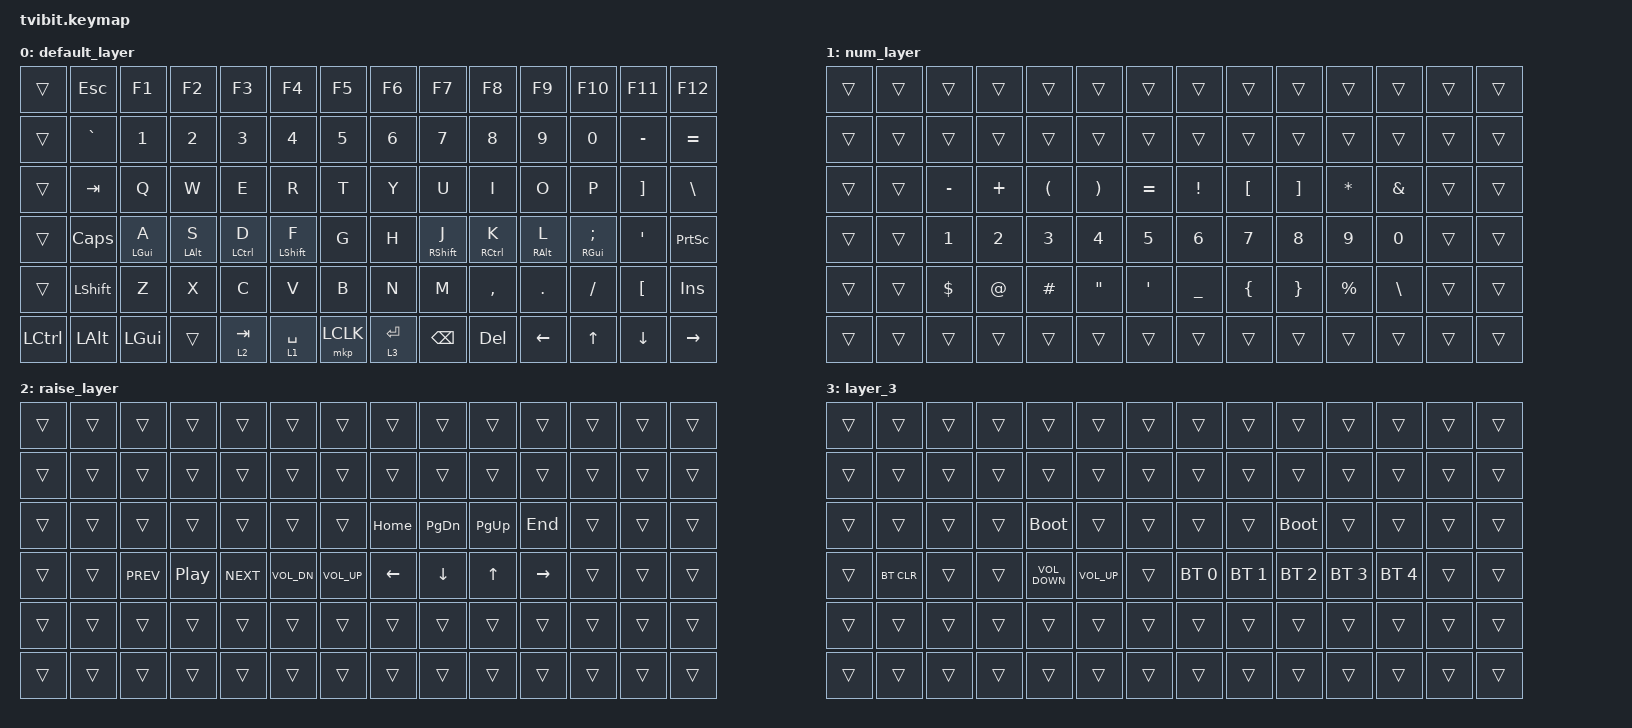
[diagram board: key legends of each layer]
/*
 * Tvibit - wireless split keyboard (nice!nano v2 / nRF52840, BLE).
 * Left = central, Right = peripheral. 42 + 42 = 84 keys, clean 6 rows x 7 cols.
 *
 * STARTER keymap - tweak freely (or live-edit via ZMK Studio).
 * Binding order follows the matrix-transform in boards/shields/tvibit/tvibit.dtsi.
 *
 * Layers:  0 BASE   1 LOWER (sym/num)   2 RAISE (nav/F-keys)   3 ADJUST (BT/sys)
 *          ADJUST auto-activates when LOWER + RAISE are held together.
 *
 * Row layout: 0=F-keys  1=numbers  2=QWERTY  3=home  4=ZXCV  5=thumbs/arrows.
 * Row 5 (bottom) holds the 3 thumb keys + the right arrow block
 * (inverted-T: UP above DOWN, flanked by LEFT/RIGHT).
 */

#include <behaviors.dtsi>
#include <dt-bindings/zmk/bt.h>
#include <dt-bindings/zmk/keys.h>
#include <dt-bindings/zmk/pointing.h>

/* key-position groups for positional home-row mods (urob "timeless" style).
   Ported from charybdis scroll-axis-lock; positions follow keymap binding
   order. Each row = 7 left cols (0-6) + 7 right cols (7-13). */

#define KEYS_L  0  1  2  3  4  5  6  14 15 16 17 18 19 20  28 29 30 31 32 33 34  42 43 44 45 46 47 48  56 57 58 59 60 61 62
#define KEYS_R  7  8  9 10 11 12 13  21 22 23 24 25 26 27  35 36 37 38 39 40 41  49 50 51 52 53 54 55  63 64 65 66 67 68 69
#define THUMBS 70 71 72 73 74 75 76  77 78 79 80 81 82 83

/ {
    conditional_layers { compatible = "zmk,conditional-layers"; };

    behaviors {
        hml: home_row_mod_left {
            compatible = "zmk,behavior-hold-tap";
            label = "HOME_ROW_MOD_LEFT";
            bindings = <&kp>, <&kp>;

            #binding-cells = <2>;
            flavor = "balanced";
            tapping-term-ms = <280>;
            quick-tap-ms = <175>;
            require-prior-idle-ms = <150>;
            hold-trigger-key-positions = <KEYS_R THUMBS>;
            hold-trigger-on-release;
        };

        hmr: home_row_mod_right {
            compatible = "zmk,behavior-hold-tap";
            label = "HOME_ROW_MOD_RIGHT";
            bindings = <&kp>, <&kp>;

            #binding-cells = <2>;
            flavor = "balanced";
            tapping-term-ms = <280>;
            quick-tap-ms = <175>;
            require-prior-idle-ms = <150>;
            hold-trigger-key-positions = <KEYS_L THUMBS>;
            hold-trigger-on-release;
        };

        /* Shift kept on home row (F/J) but tuned separately: require-prior-idle
           removed so fast capitals don't force a tap ("two letters"), shorter
           term. Positional guard stays (same-hand fast typing won't misfire). */

        hsl: home_shift_left {
            compatible = "zmk,behavior-hold-tap";
            label = "HOME_SHIFT_LEFT";
            bindings = <&kp>, <&kp>;

            #binding-cells = <2>;
            flavor = "balanced";
            tapping-term-ms = <200>;
            quick-tap-ms = <175>;
            require-prior-idle-ms = <0>;
            hold-trigger-key-positions = <KEYS_R THUMBS>;
            hold-trigger-on-release;
        };

        hsr: home_shift_right {
            compatible = "zmk,behavior-hold-tap";
            label = "HOME_SHIFT_RIGHT";
            bindings = <&kp>, <&kp>;

            #binding-cells = <2>;
            flavor = "balanced";
            tapping-term-ms = <200>;
            quick-tap-ms = <175>;
            require-prior-idle-ms = <0>;
            hold-trigger-key-positions = <KEYS_L THUMBS>;
            hold-trigger-on-release;
        };
    };

    keymap {
        compatible = "zmk,keymap";

        default_layer {
            bindings = <
&trans            &kp ESCAPE      &kp F1           &kp F2           &kp F3        &kp F4             &kp F5     &kp F6     &kp F7              &kp F8        &kp F9            &kp F10              &kp F11           &kp F12
&trans            &kp GRAVE       &kp N1           &kp N2           &kp N3        &kp N4             &kp N5     &kp N6     &kp N7              &kp N8        &kp N9            &kp N0               &kp MINUS         &kp EQUAL
&trans            &kp TAB         &kp Q            &kp W            &kp E         &kp R              &kp T      &kp Y      &kp U               &kp I         &kp O             &kp P                &kp RBKT          &kp BSLH
&trans            &kp CAPSLOCK    &hml LEFT_GUI A  &hml LEFT_ALT S  &hml LCTRL D  &hsl LEFT_SHIFT F  &kp G      &kp H      &hsr RIGHT_SHIFT J  &hmr RCTRL K  &hmr RIGHT_ALT L  &hmr RIGHT_GUI SEMI  &kp SQT           &kp PRINTSCREEN
&trans            &kp LEFT_SHIFT  &kp Z            &kp X            &kp C         &kp V              &kp B      &kp N      &kp M               &kp COMMA     &kp DOT           &kp FSLH             &kp LEFT_BRACKET  &kp INSERT
&kp LEFT_CONTROL  &kp LEFT_ALT    &kp LEFT_GUI     &trans           &lt 2 TAB     &lt 1 SPACE        &mkp LCLK  &lt 3 RET  &kp BACKSPACE       &kp DEL       &kp LEFT          &kp UP               &kp DOWN          &kp RIGHT
            >;
        };

        num_layer {
            bindings = <
&trans  &trans  &trans     &trans    &trans    &trans    &trans     &trans     &trans    &trans    &trans     &trans    &trans  &trans
&trans  &trans  &trans     &trans    &trans    &trans    &trans     &trans     &trans    &trans    &trans     &trans    &trans  &trans
&trans  &trans  &kp MINUS  &kp PLUS  &kp LPAR  &kp RPAR  &kp EQUAL  &kp EXCL   &kp LBKT  &kp RBKT  &kp ASTRK  &kp AMPS  &trans  &trans
&trans  &trans  &kp N1     &kp N2    &kp N3    &kp N4    &kp N5     &kp N6     &kp N7    &kp N8    &kp N9     &kp N0    &trans  &trans
&trans  &trans  &kp DLLR   &kp AT    &kp HASH  &kp DQT   &kp SQT    &kp UNDER  &kp LBRC  &kp RBRC  &kp PRCNT  &kp BSLH  &trans  &trans
&trans  &trans  &trans     &trans    &trans    &trans    &trans     &trans     &trans    &trans    &trans     &trans    &trans  &trans
            >;
        };

        raise_layer {
            bindings = <
&trans  &trans  &trans      &trans    &trans      &trans        &trans        &trans    &trans     &trans     &trans     &trans  &trans  &trans
&trans  &trans  &trans      &trans    &trans      &trans        &trans        &trans    &trans     &trans     &trans     &trans  &trans  &trans
&trans  &trans  &trans      &trans    &trans      &trans        &trans        &kp HOME  &kp PG_DN  &kp PG_UP  &kp END    &trans  &trans  &trans
&trans  &trans  &kp C_PREV  &kp C_PP  &kp C_NEXT  &kp C_VOL_DN  &kp C_VOL_UP  &kp LEFT  &kp DOWN   &kp UP     &kp RIGHT  &trans  &trans  &trans
&trans  &trans  &trans      &trans    &trans      &trans        &trans        &trans    &trans     &trans     &trans     &trans  &trans  &trans
&trans  &trans  &trans      &trans    &trans      &trans        &trans        &trans    &trans     &trans     &trans     &trans  &trans  &trans
            >;
        };

        layer_3 {
            bindings = <
&trans  &trans      &trans  &trans  &trans             &trans           &trans  &trans        &trans        &trans        &trans        &trans        &trans  &trans
&trans  &trans      &trans  &trans  &trans             &trans           &trans  &trans        &trans        &trans        &trans        &trans        &trans  &trans
&trans  &trans      &trans  &trans  &bootloader        &trans           &trans  &trans        &trans        &bootloader   &trans        &trans        &trans  &trans
&trans  &bt BT_CLR  &trans  &trans  &kp C_VOLUME_DOWN  &kp C_VOLUME_UP  &trans  &bt BT_SEL 0  &bt BT_SEL 1  &bt BT_SEL 2  &bt BT_SEL 3  &bt BT_SEL 4  &trans  &trans
&trans  &trans      &trans  &trans  &trans             &trans           &trans  &trans        &trans        &trans        &trans        &trans        &trans  &trans
&trans  &trans      &trans  &trans  &trans             &trans           &trans  &trans        &trans        &trans        &trans        &trans        &trans  &trans
            >;
        };
    };
};
